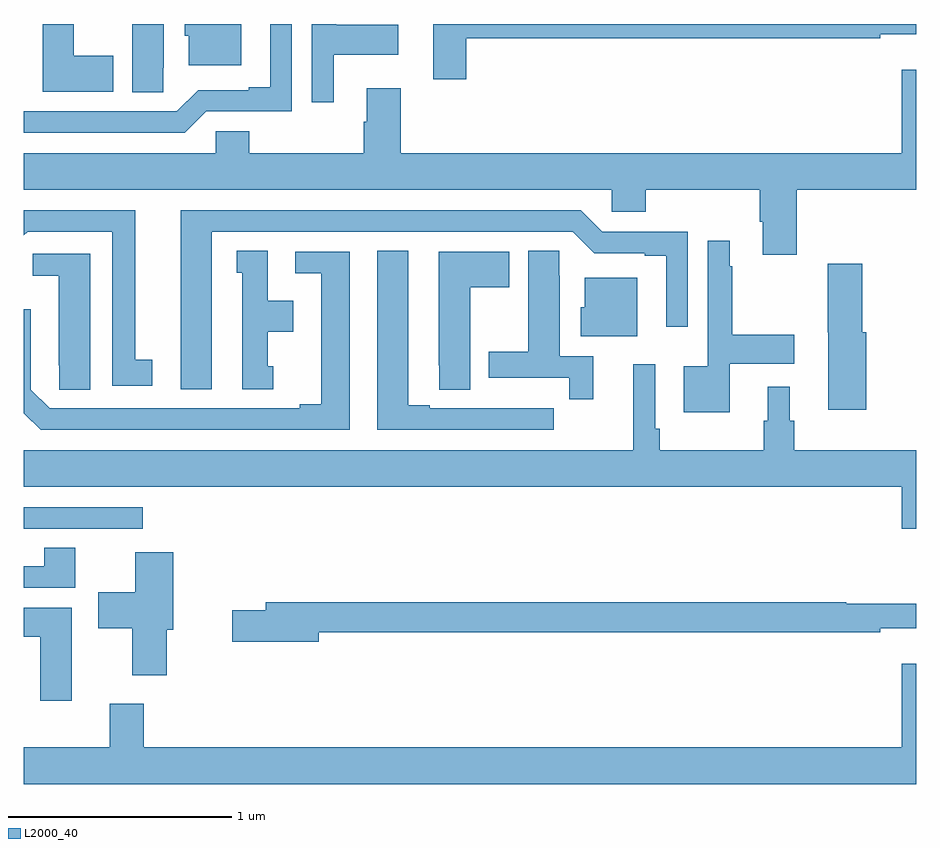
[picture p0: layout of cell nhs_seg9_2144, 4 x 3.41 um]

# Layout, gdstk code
import gdstk
lib = gdstk.Library(unit=1e-6, precision=1e-09)
def R(c, l, rs):  # rectangles x0, y0, x1, y1
    for r in rs: c.add(gdstk.rectangle(r[:2], r[2:], *l))
def P(c, l, *ps):  # polygons
    for p in ps: c.add(gdstk.Polygon(p, *l))
L2000_40 = (2000, 40)

nhs_seg9_2144 = lib.new_cell('nhs_seg9_2144')
R(nhs_seg9_2144, L2000_40, [(233,1192.236,233.533,1192.332)])
P(nhs_seg9_2144, L2000_40, [(233.817,1194.108),(234.201,1194.108),(234.201,1194.5),(234.104,1194.5),(234.104,1194.217),(234.008,1194.217),(234.008,1194.204),(233.781,1194.204),(233.685,1194.108),(233,1194.108),(233,1194.012),(233.721,1194.012)],
  [(233.401,1194.357),(233.224,1194.357),(233.224,1194.5),(233.084,1194.5),(233.084,1194.197),(233.401,1194.197)],
  [(233.625,1194.304),(233.626,1194.304),(233.626,1194.5),(233.486,1194.5),(233.486,1194.193),(233.625,1194.193)],
  [(234.983,1194.436),(236.84,1194.436),(236.84,1194.455),(237,1194.455),(237,1194.5),(234.836,1194.5),(234.836,1194.252),(234.983,1194.252)],
  [(234.388,1194.362),(234.679,1194.362),(234.679,1194.497),(234.4,1194.497),(234.4,1194.5),(234.291,1194.5),(234.291,1194.15),(234.388,1194.15)],
  [(233.974,1194.5),(233.72,1194.5),(233.72,1194.447),(233.738,1194.447),(233.738,1194.314),(233.974,1194.314)],
  [(235.635,1193.658),(235.787,1193.658),(235.787,1193.756),(236.3,1193.756),(236.3,1193.614),(236.312,1193.614),(236.312,1193.466),(236.465,1193.466),(236.465,1193.756),(237,1193.756),(237,1194.295),(236.936,1194.295),(236.936,1193.92),(234.689,1193.92),(234.689,1194.211),(234.536,1194.211),(234.536,1194.062),(234.524,1194.062),(234.524,1193.92),(234.011,1193.92),(234.011,1194.018),(233.859,1194.018),(233.859,1193.92),(233,1193.92),(233,1193.756),(235.635,1193.756)],
  [(233.842,1193.568),(235.461,1193.568),(235.557,1193.472),(235.784,1193.472),(235.784,1193.46),(235.88,1193.46),(235.88,1193.142),(235.977,1193.142),(235.977,1193.568),(235.593,1193.568),(235.497,1193.664),(233.702,1193.664),(233.702,1192.863),(233.842,1192.863)],
  [(233.575,1192.994),(233.5,1192.994),(233.5,1193.664),(233,1193.664),(233,1193.552),(233.016,1193.568),(233.396,1193.568),(233.396,1192.878),(233.575,1192.878)],
  [(236.164,1192.976),(236.455,1192.976),(236.455,1193.106),(236.176,1193.106),(236.176,1193.414),(236.164,1193.414),(236.164,1193.527),(236.067,1193.527),(236.067,1192.966),(235.958,1192.966),(235.958,1192.76),(236.164,1192.76)],
  [(235.553,1193.01),(235.402,1193.01),(235.402,1193.372),(235.401,1193.372),(235.401,1193.483),(235.262,1193.483),(235.262,1193.031),(235.085,1193.031),(235.085,1192.914),(235.444,1192.914),(235.444,1192.818),(235.553,1192.818)],
  [(234.118,1192.965),(234.094,1192.965),(234.094,1193.12),(234.208,1193.12),(234.208,1193.26),(234.094,1193.26),(234.094,1193.483),(233.954,1193.483),(233.954,1193.385),(233.978,1193.385),(233.978,1192.863),(234.118,1192.863)],
  [(235.375,1192.776),(235.262,1192.776),(235.262,1192.777),(235.096,1192.777),(235.096,1192.776),(234.82,1192.776),(234.82,1192.791),(234.724,1192.791),(234.724,1193.483),(234.584,1193.483),(234.584,1192.68),(235.375,1192.68)],
  [(235,1193.32),(235.177,1193.32),(235.177,1193.479),(234.86,1193.479),(234.86,1192.969),(234.861,1192.969),(234.861,1192.861),(235,1192.861)],
  [(234.46,1193.478),(234.216,1193.478),(234.216,1193.382),(234.332,1193.382),(234.332,1192.796),(234.236,1192.796),(234.236,1192.776),(233.115,1192.776),(233.031,1192.86),(233.031,1193.221),(233,1193.221),(233,1192.755),(233.075,1192.68),(234.46,1192.68)],
  [(233.296,1193.469),(233.04,1193.469),(233.04,1193.372),(233.156,1193.372),(233.156,1192.969),(233.157,1192.969),(233.157,1192.861),(233.296,1192.861)],
  [(236.777,1193.118),(236.759,1193.118),(236.759,1193.425),(236.605,1193.425),(236.605,1193.118),(236.606,1193.118),(236.606,1192.77),(236.777,1192.77)],
  [(235.75,1193.362),(235.514,1193.362),(235.514,1193.229),(235.496,1193.229),(235.496,1193.099),(235.75,1193.099)],
  [(237,1192.588),(236.453,1192.588),(236.453,1192.722),(236.434,1192.722),(236.434,1192.873),(236.336,1192.873),(236.336,1192.722),(236.317,1192.722),(236.317,1192.588),(235.85,1192.588),(235.85,1192.684),(235.83,1192.684),(235.83,1192.975),(235.733,1192.975),(235.733,1192.588),(233,1192.588),(233,1192.424),(236.936,1192.424),(236.936,1192.236),(237,1192.236)],
  [(233.23,1192.151),(233.09,1192.151),(233.09,1192.068),(233,1192.068),(233,1191.972),(233.23,1191.972)],
  [(233.641,1191.783),(233.669,1191.783),(233.669,1192.132),(233.498,1192.132),(233.498,1191.952),(233.334,1191.952),(233.334,1191.79),(233.486,1191.79),(233.486,1191.579),(233.641,1191.579)],
  [(234.322,1191.772),(236.84,1191.772),(236.84,1191.791),(237,1191.791),(237,1191.901),(236.687,1191.901),(236.687,1191.908),(234.083,1191.908),(234.083,1191.872),(233.934,1191.872),(233.934,1191.73),(234.322,1191.73)],
  [(233.215,1191.883),(233,1191.883),(233,1191.752),(233.072,1191.752),(233.072,1191.465),(233.215,1191.465)],
  [(237,1191.631),(236.936,1191.631),(236.936,1191.256),(233.537,1191.256),(233.537,1191.451),(233.384,1191.451),(233.384,1191.256),(233,1191.256),(233,1191.092),(237,1191.092)])

lib.write_gds('nhs_seg9_2144.gds')
